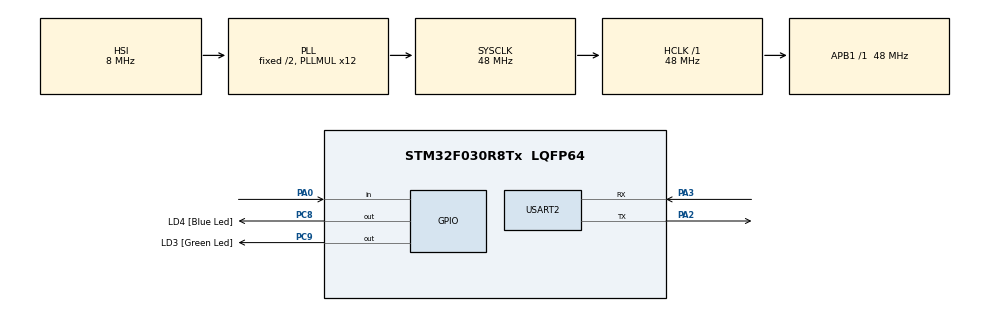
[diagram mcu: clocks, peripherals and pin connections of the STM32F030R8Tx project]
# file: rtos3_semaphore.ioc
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Mcu.Family=STM32F0
FREERTOS.Tasks01=normalTask,0,128,StartNormalTask,Default,NULL,Dynamic,NULL,NULL;highTask,1,128,StartHighTask,Default,NULL,Dynamic,NULL,NULL;lowTask,-1,128,StartLowTask,Default,NULL,Dynamic,NULL,NULL
FREERTOS.BinarySemaphores01=BinarySem,Dynamic,NULL
PC9.GPIO_Label=LD3 [Green Led]
PA14.GPIO_Label=SWCLK
PC8.Signal=GPIO_Output
RCC.SYSCLKSource=RCC_SYSCLKSOURCE_PLLCLK
ProjectManager.StackSize=0x400
PC8.GPIO_Label=LD4 [Blue Led]
PA3.Mode=Asynchronous
PA13.Signal=SYS_SWDIO
ProjectManager.TargetToolchain=STM32CubeIDE
RCC.HCLKFreq_Value=48000000
RCC.AHBFreq_Value=48000000
board=STM32F0308-DISCO
USART2.VirtualMode-Asynchronous=VM_ASYNC
RCC.PLLMUL=RCC_PLL_MUL12
PA14.Mode=Serial_Wire
VP_SYS_VS_tim1.Mode=TIM1
VP_FREERTOS_VS_CMSIS_V1.Mode=CMSIS_V1
PA13.Mode=Serial_Wire
Mcu.Name=STM32F030R8Tx
PA2.Signal=USART2_TX
PA13.GPIO_Label=SWDIO
PA0.Signal=GPIO_Input
RCC.SYSCLKFreq_VALUE=48000000
Mcu.Package=LQFP64
NVIC.TimeBase=TIM1_BRK_UP_TRG_COM_IRQn
NVIC.TimeBaseIP=TIM1
PA14.Signal=SYS_SWCLK
ProjectManager.HeapSize=0x200
RCC.APB1TimFreq_Value=48000000
PA2.Mode=Asynchronous
PC9.Signal=GPIO_Output
RCC.APB1Freq_Value=48000000
NVIC.TIM1_BRK_UP_TRG_COM_IRQn=true\:0\:0\:false\:false\:true\:false\:false\:true
PA3.Signal=USART2_RX

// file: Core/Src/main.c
/* USER CODE BEGIN Header */
/**
  ******************************************************************************
  * @file           : main.c
  * @brief          : Main program body
  ******************************************************************************
  * @attention
  *
  * <h2><center>&copy; Copyright (c) 2021 STMicroelectronics.
  * All rights reserved.</center></h2>
  *
  * This software component is licensed by ST under BSD 3-Clause license,
  * the "License"; You may not use this file except in compliance with the
  * License. You may obtain a copy of the License at:
  *                        opensource.org/licenses/BSD-3-Clause
  *
  ******************************************************************************
  */
/* USER CODE END Header */
#include "main.h"
#include "cmsis_os.h"
#include "string.h"

UART_HandleTypeDef huart2;

osThreadId normalTaskHandle;
osThreadId highTaskHandle;
osThreadId lowTaskHandle;
osSemaphoreId BinarySemHandle;

void SystemClock_Config(void);
static void MX_GPIO_Init(void);
static void MX_USART2_UART_Init(void);
void StartNormalTask(void const * argument);
void StartHighTask(void const * argument);
void StartLowTask(void const * argument);

int main(void)
{

  /* MCU Configuration--------------------------------------------------------*/

  /* Reset of all peripherals, Initializes the Flash interface and the Systick. */
  HAL_Init();

  /* Configure the system clock */
  SystemClock_Config();

  /* Initialize all configured peripherals */
  MX_GPIO_Init();
  MX_USART2_UART_Init();

  /* Create the semaphores(s) */
  /* definition and creation of BinarySem */
  osSemaphoreDef(BinarySem);
  BinarySemHandle = osSemaphoreCreate(osSemaphore(BinarySem), 1);

  /* Create the thread(s) */
  /* definition and creation of normalTask */
  osThreadDef(normalTask, StartNormalTask, osPriorityNormal, 0, 128);
  normalTaskHandle = osThreadCreate(osThread(normalTask), NULL);

  /* definition and creation of highTask */
  osThreadDef(highTask, StartHighTask, osPriorityAboveNormal, 0, 128);
  highTaskHandle = osThreadCreate(osThread(highTask), NULL);

  /* definition and creation of lowTask */
  osThreadDef(lowTask, StartLowTask, osPriorityBelowNormal, 0, 128);
  lowTaskHandle = osThreadCreate(osThread(lowTask), NULL);

  /* Start scheduler */
  osKernelStart();

  /* We should never get here as control is now taken by the scheduler */
  /* Infinite loop */
  while (1)
  {

  }
}

void SystemClock_Config(void)
{
  RCC_OscInitTypeDef RCC_OscInitStruct = {0};
  RCC_ClkInitTypeDef RCC_ClkInitStruct = {0};

  /** Initializes the RCC Oscillators according to the specified parameters
  * in the RCC_OscInitTypeDef structure.
  */
  RCC_OscInitStruct.OscillatorType = RCC_OSCILLATORTYPE_HSI;
  RCC_OscInitStruct.HSIState = RCC_HSI_ON;
  RCC_OscInitStruct.HSICalibrationValue = RCC_HSICALIBRATION_DEFAULT;
  RCC_OscInitStruct.PLL.PLLState = RCC_PLL_ON;
  RCC_OscInitStruct.PLL.PLLSource = RCC_PLLSOURCE_HSI;
  RCC_OscInitStruct.PLL.PLLMUL = RCC_PLL_MUL12;
  RCC_OscInitStruct.PLL.PREDIV = RCC_PREDIV_DIV1;
  if (HAL_RCC_OscConfig(&RCC_OscInitStruct) != HAL_OK)
  {
    Error_Handler();
  }
  /** Initializes the CPU, AHB and APB buses clocks
  */
  RCC_ClkInitStruct.ClockType = RCC_CLOCKTYPE_HCLK|RCC_CLOCKTYPE_SYSCLK
                              |RCC_CLOCKTYPE_PCLK1;
  RCC_ClkInitStruct.SYSCLKSource = RCC_SYSCLKSOURCE_PLLCLK;
  RCC_ClkInitStruct.AHBCLKDivider = RCC_SYSCLK_DIV1;
  RCC_ClkInitStruct.APB1CLKDivider = RCC_HCLK_DIV1;

  if (HAL_RCC_ClockConfig(&RCC_ClkInitStruct, FLASH_LATENCY_1) != HAL_OK)
  {
    Error_Handler();
  }
}

static void MX_USART2_UART_Init(void)
{

  huart2.Instance = USART2;
  huart2.Init.BaudRate = 38400;
  huart2.Init.WordLength = UART_WORDLENGTH_8B;
  huart2.Init.StopBits = UART_STOPBITS_1;
  huart2.Init.Parity = UART_PARITY_NONE;
  huart2.Init.Mode = UART_MODE_TX_RX;
  huart2.Init.HwFlowCtl = UART_HWCONTROL_NONE;
  huart2.Init.OverSampling = UART_OVERSAMPLING_16;
  huart2.Init.OneBitSampling = UART_ONE_BIT_SAMPLE_DISABLE;
  huart2.AdvancedInit.AdvFeatureInit = UART_ADVFEATURE_NO_INIT;
  if (HAL_UART_Init(&huart2) != HAL_OK)
  {
    Error_Handler();
  }

}

static void MX_GPIO_Init(void)
{
  GPIO_InitTypeDef GPIO_InitStruct = {0};

  /* GPIO Ports Clock Enable */
  __HAL_RCC_GPIOA_CLK_ENABLE();
  __HAL_RCC_GPIOC_CLK_ENABLE();

  /*Configure GPIO pin Output Level */
  HAL_GPIO_WritePin(GPIOC, LD4_Pin|LD3_Pin, GPIO_PIN_RESET);

  /*Configure GPIO pin : PA0 */
  GPIO_InitStruct.Pin = GPIO_PIN_0;
  GPIO_InitStruct.Mode = GPIO_MODE_INPUT;
  GPIO_InitStruct.Pull = GPIO_NOPULL;
  HAL_GPIO_Init(GPIOA, &GPIO_InitStruct);

  /*Configure GPIO pins : LD4_Pin LD3_Pin */
  GPIO_InitStruct.Pin = LD4_Pin|LD3_Pin;
  GPIO_InitStruct.Mode = GPIO_MODE_OUTPUT_PP;
  GPIO_InitStruct.Pull = GPIO_NOPULL;
  GPIO_InitStruct.Speed = GPIO_SPEED_FREQ_LOW;
  HAL_GPIO_Init(GPIOC, &GPIO_InitStruct);

}

void StartNormalTask(void const * argument)
{
  /* USER CODE BEGIN 5 */
  /* Infinite loop */
  for(;;)
  {

	  const char *str1 = "enter medium task\n";
	  HAL_UART_Transmit(&huart2, (uint8_t *)str1, strlen(str1), 100);

	  const char *str2 = "leaving medium task\n";
	  HAL_UART_Transmit(&huart2, (uint8_t *)str2, strlen(str2), 100);

    osDelay(1000);
  }
  /* USER CODE END 5 */
}

void StartHighTask(void const * argument)
{
  /* USER CODE BEGIN StartHighTask */
  /* Infinite loop */
  for(;;)
  {
	  const char *str1 = "enter high task and wait for semaphore\n";
	  HAL_UART_Transmit(&huart2, (uint8_t *)str1, strlen(str1), 100);

	  osSemaphoreWait(BinarySemHandle, osWaitForever);

	  const char *str3 = "semaphore acquired by high task\n";
	  HAL_UART_Transmit(&huart2, (uint8_t *)str3, strlen(str3), 100);

	  //while(!HAL_GPIO_ReadPin(GPIOA, GPIO_PIN_0));

	  const char *str2 = "leaving high task and releasing semaphore\n";
	  HAL_UART_Transmit(&huart2, (uint8_t *)str2, strlen(str2), 100);

	  osSemaphoreRelease(BinarySemHandle);
    osDelay(1000);
  }
  /* USER CODE END StartHighTask */
}

void StartLowTask(void const * argument)
{
  /* USER CODE BEGIN StartLowTask */
  /* Infinite loop */
  for(;;)
  {

	  const char *str1 = "enter low task and wait for semaphore\n";
	  HAL_UART_Transmit(&huart2, (uint8_t *)str1, strlen(str1), 100);

	  osSemaphoreWait(BinarySemHandle, osWaitForever);

	  const char *str3 = "semaphore acquired by low task\n";
	  HAL_UART_Transmit(&huart2, (uint8_t *)str3, strlen(str3), 100);

	  while(!HAL_GPIO_ReadPin(GPIOA, GPIO_PIN_0));

	  const char *str2 = "leaving low task and releasing semaphore\n";
	  HAL_UART_Transmit(&huart2, (uint8_t *)str2, strlen(str2), 100);

	  osSemaphoreRelease(BinarySemHandle);    osDelay(1000);
  }
  /* USER CODE END StartLowTask */
}

 /**
  * @brief  Period elapsed callback in non blocking mode
  * @note   This function is called  when TIM1 interrupt took place, inside
  * HAL_TIM_IRQHandler(). It makes a direct call to HAL_IncTick() to increment
  * a global variable "uwTick" used as application time base.
  * @param  htim : TIM handle
  * @retval None
  */
void HAL_TIM_PeriodElapsedCallback(TIM_HandleTypeDef *htim)
{
  if (htim->Instance == TIM1) {
    HAL_IncTick();
  }
}

void Error_Handler(void)
{
  __disable_irq();
  while (1)
  {
  }
}

/************************ (C) COPYRIGHT STMicroelectronics *****END OF FILE****/
